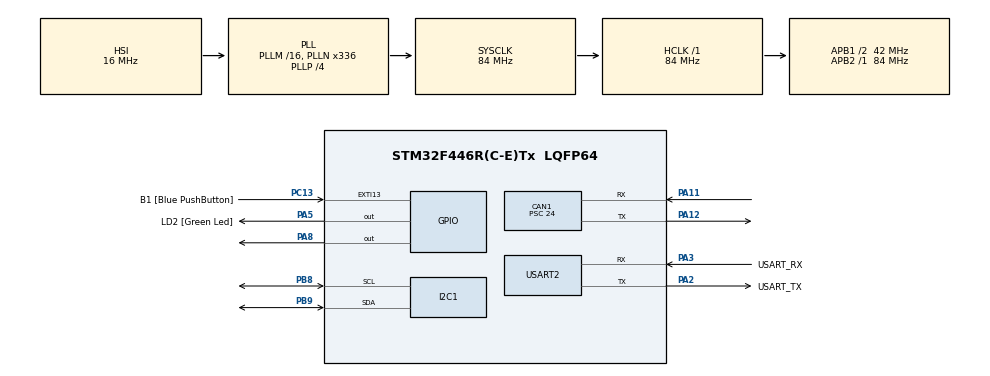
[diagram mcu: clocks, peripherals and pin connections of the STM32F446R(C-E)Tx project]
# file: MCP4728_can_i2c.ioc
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CAN1.BS1=CAN_BS1_11TQ
CAN1.BS2=CAN_BS2_2TQ
CAN1.CalculateBaudRate=125000
CAN1.CalculateTimeBit=8000
CAN1.CalculateTimeQuantum=571.4285714285714
CAN1.Mode=CAN_MODE_NORMAL
CAN1.Prescaler=24
Mcu.Family=STM32F4
Mcu.Name=STM32F446R(C-E)Tx
Mcu.Package=LQFP64
NVIC.CAN1_RX0_IRQn=true\:0\:0\:false\:false\:true\:true\:true\:true
NVIC.PriorityGroup=NVIC_PRIORITYGROUP_0
PA11.GPIO_Speed=GPIO_SPEED_FREQ_HIGH
PA11.Mode=CAN_Activate
PA11.Signal=CAN1_RX
PA12.GPIO_Speed=GPIO_SPEED_FREQ_HIGH
PA12.Mode=CAN_Activate
PA12.Signal=CAN1_TX
PA13.GPIO_Label=TMS
PA13.Mode=Serial_Wire
PA13.Signal=SYS_JTMS-SWDIO
PA14.GPIO_Label=TCK
PA14.Mode=Serial_Wire
PA14.Signal=SYS_JTCK-SWCLK
PA2.GPIO_Label=USART_TX
PA2.Mode=Asynchronous
PA2.Signal=USART2_TX
PA3.GPIO_Label=USART_RX
PA3.Mode=Asynchronous
PA3.Signal=USART2_RX
PA5.GPIO_Label=LD2 [Green Led]
PA5.Signal=GPIO_Output
PA8.GPIO_ModeDefaultOutputPP=GPIO_MODE_OUTPUT_PP
PA8.PinState=GPIO_PIN_SET
PA8.Signal=GPIO_Output
PB3.GPIO_Label=SWO
PB3.Signal=SYS_JTDO-SWO
PB8.GPIO_Speed=GPIO_SPEED_FREQ_HIGH
PB8.Mode=I2C
PB8.Signal=I2C1_SCL
PB9.GPIO_Speed=GPIO_SPEED_FREQ_HIGH
PB9.Mode=I2C
PB9.Signal=I2C1_SDA
PC13.GPIO_Label=B1 [Blue PushButton]
PC13.GPIO_ModeDefaultEXTI=GPIO_MODE_IT_FALLING
PC13.Signal=GPXTI13
PC14-OSC32_IN.Mode=LSE-External-Oscillator
PC14-OSC32_IN.Signal=RCC_OSC32_IN
PC15-OSC32_OUT.Mode=LSE-External-Oscillator
PC15-OSC32_OUT.Signal=RCC_OSC32_OUT
PH0-OSC_IN.Mode=HSE-External-Oscillator
PH0-OSC_IN.Signal=RCC_OSC_IN
PH1-OSC_OUT.Mode=HSE-External-Oscillator
PH1-OSC_OUT.Signal=RCC_OSC_OUT
ProjectManager.HeapSize=0x200
ProjectManager.StackSize=0x400
ProjectManager.TargetToolchain=CMake
RCC.48MHZClocksFreq_Value=84000000
RCC.AHBFreq_Value=84000000
RCC.APB1CLKDivider=RCC_HCLK_DIV2
RCC.APB1Freq_Value=42000000
RCC.APB1TimFreq_Value=84000000
RCC.APB2Freq_Value=84000000
RCC.APB2TimFreq_Value=84000000
RCC.CortexFreq_Value=84000000
RCC.FLatency-AdvancedSettings=FLASH_LATENCY_2
RCC.HCLKFreq_Value=84000000
RCC.HSE_VALUE=8000000
RCC.HSI_VALUE=16000000
RCC.PLLN=336
RCC.PLLP=RCC_PLLP_DIV4
RCC.SYSCLKFreq_VALUE=84000000
RCC.SYSCLKSource=RCC_SYSCLKSOURCE_PLLCLK
RCC.USBFreq_Value=168000000
RCC.VCOOutputFreq_Value=336000000
USART2.VirtualMode=VM_ASYNC
board=NUCLEO-F446RE

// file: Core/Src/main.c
/* USER CODE BEGIN Header */
/**
  ******************************************************************************
  * @file           : main.c
  * @brief          : Elevator CAN to MCP4728 DAC Bridge
  ******************************************************************************

  * @attention
  *
  * Copyright (c) 2026 STMicroelectronics.
  * All rights reserved.
  *
  * This software is licensed under terms that can be found in the LICENSE file
  * in the root directory of this software component.
  * If no LICENSE file comes with this software, it is provided AS-IS.
  *
  ******************************************************************************
  */
/* USER CODE END Header */
#include "main.h"
#include "can.h"
#include "i2c.h"
#include "usart.h"
#include "gpio.h"

/* USER CODE BEGIN PD */

#define DEBUG_UART_ENABLE      0U
#define DEBUG_CAN_RX_VERBOSE   0U
#define DEBUG_I2C_VERBOSE      0U

/* USER CODE END PD */

/* USER CODE BEGIN PV */

// MCP4728 默认 7-bit 地址为 0x60，HAL 发送时使用左移后的地址格式
#define MCP4728_ADDR (0x60U << 1)

// --- 4~20mA 映射用常数 ---
// 假设硬件把 DAC (0~4095) 的输出电压(0~Vref)转换为 0~20mA
// 所以 4mA 对应的 DAC 值为: (4mA/20mA) * 4095 ≈ 819，20mA对应 4095
// (*如果您的硬件本身是将 0~Vref 转化为 4~20mA, 则此处应改为 0 和 4095)
#define DAC_4MA_VAL  0
#define DAC_20MA_VAL 4095

// 定义 CAN 接收到数据的对应量程
// 假设收到的数据是 0 到 60000 对应 4~20mA。(可根据您的电梯协议实际极值随意更改)
#define SENSOR_MIN 0
#define SENSOR_MAX 60000

// MCP4728 LDAC 引脚：高电平保持输出不更新，低脉冲后同步更新各通道
#define MCP4728_LDAC_GPIO_Port GPIOA
#define MCP4728_LDAC_Pin GPIO_PIN_8
// -----------------------

static volatile uint8_t dac_update_pending = 0;
static volatile uint16_t dac_chA_pending = 0;
static volatile uint16_t dac_chB_pending = 0;
static volatile uint16_t dac_chC_pending = 0;

/* CAN 正常模式下不再发送环回测试帧，先保留计数变量定义 */
/*
static volatile uint32_t g_can_tx_ok = 0U;
static volatile uint32_t g_can_tx_fail = 0U;
*/
static volatile uint32_t g_can_rx_ok = 0U;
static volatile uint32_t g_i2c_tx_ok = 0U;
static volatile uint32_t g_i2c_tx_fail = 0U;

/* USER CODE END PV */

void SystemClock_Config(void);
/* USER CODE BEGIN PFP */

void MCP4728_Write_3Channels(uint16_t chA, uint16_t chB, uint16_t chC);
/* CAN 正常模式下不再发送环回测试帧 */
/* static void CAN_Send_Loopback_TestFrame(void); */
/* 串口调试函数保留注释，按需恢复 */
/* static void Debug_Printf(const char *fmt, ...); */
/* static void Debug_PrintCanPayload(const CAN_RxHeaderTypeDef *rxHeader, const uint8_t *rxData); */

/* USER CODE END PFP */

/* USER CODE BEGIN 0 */

/*
static void Debug_Printf(const char *fmt, ...)
{
#if DEBUG_UART_ENABLE
  char buf[160];
  va_list args;

  va_start(args, fmt);
  int len = vsnprintf(buf, sizeof(buf), fmt, args);
  va_end(args);

  if (len <= 0) {
    return;
  }

  if (len > (int)sizeof(buf)) {
    len = (int)sizeof(buf);
  }

  (void)HAL_UART_Transmit(&huart2, (uint8_t *)buf, (uint16_t)len, 50U);
#else
  (void)fmt;
#endif
}

static void Debug_PrintCanPayload(const CAN_RxHeaderTypeDef *rxHeader, const uint8_t *rxData)
{
#if DEBUG_UART_ENABLE && DEBUG_CAN_RX_VERBOSE
  Debug_Printf("[CAN RX] ID=0x%03lX DLC=%lu DATA=%02X %02X %02X %02X %02X %02X %02X %02X\r\n",
               rxHeader->StdId,
               rxHeader->DLC,
               rxData[0], rxData[1], rxData[2], rxData[3],
               rxData[4], rxData[5], rxData[6], rxData[7]);
#else
  (void)rxHeader;
  (void)rxData;
#endif
}
*/

/* USER CODE END 0 */

int main(void)
{

  /* MCU Configuration--------------------------------------------------------*/

  /* Reset of all peripherals, Initializes the Flash interface and the Systick. */
  HAL_Init();

  /* Configure the system clock */
  SystemClock_Config();

  /* Initialize all configured peripherals */
  MX_GPIO_Init();
  MX_CAN1_Init();
  MX_I2C1_Init();
  MX_USART2_UART_Init();
  /* USER CODE BEGIN 2 */
  // 1. 配置 CAN 过滤器
  CAN_FilterTypeDef sFilterConfig;
  sFilterConfig.FilterBank = 0;
  sFilterConfig.FilterMode = CAN_FILTERMODE_IDMASK;
  sFilterConfig.FilterScale = CAN_FILTERSCALE_32BIT;
  sFilterConfig.FilterIdHigh = (0x181 << 5);      // 帧 ID: 0x181
  sFilterConfig.FilterIdLow = 0x0000;
  sFilterConfig.FilterMaskIdHigh = 0xFFE0;        // 精确匹配
  // sFilterConfig.FilterMaskIdHigh = 0x0000;       // 接收所有 ID（不过滤）
  sFilterConfig.FilterMaskIdLow = 0x0000;
  sFilterConfig.FilterFIFOAssignment = CAN_RX_FIFO0;
  sFilterConfig.FilterActivation = ENABLE;
  sFilterConfig.SlaveStartFilterBank = 14;

  if (HAL_CAN_ConfigFilter(&hcan1, &sFilterConfig) != HAL_OK) {
      Error_Handler();
  }

  // 2. 启动 CAN
  if (HAL_CAN_Start(&hcan1) != HAL_OK) {
      Error_Handler();
  }

  // 3. 开启接收中断
  if (HAL_CAN_ActivateNotification(&hcan1, CAN_IT_RX_FIFO0_MSG_PENDING) != HAL_OK) {
      Error_Handler();
  }

  /*
   * Normal mode 下关闭 I2C 扫描自检，不影响 CAN -> DAC 主流程。
   * 如需排查硬件连线/地址问题，可临时恢复此段。
   * Debug_Printf("[I2C SCAN] Scanning 0x01~0x7F...\r\n");
   * for (uint8_t addr = 0x01; addr <= 0x7F; addr++) {
   *   HAL_StatusTypeDef ret = HAL_I2C_IsDeviceReady(&hi2c1, (uint16_t)(addr << 1), 2, 10);
   *   if (ret == HAL_OK) {
   *     Debug_Printf("[I2C SCAN] addr=0x%02X -> ACK <<<\r\n", addr);
   *   }
   * }
   * Debug_Printf("[I2C SCAN] Done\r\n");
   */
  /* USER CODE END 2 */

  /* Infinite loop */
  /* USER CODE BEGIN WHILE */
  while (1)
  {
    /* static uint32_t lastDebugTick = 0U; */

    /* CAN 正常模式：关闭环回测试发包 */
    /* CAN_Send_Loopback_TestFrame(); */

    if (dac_update_pending != 0U) {
      uint16_t chA = dac_chA_pending;
      uint16_t chB = dac_chB_pending;
      uint16_t chC = dac_chC_pending;

      dac_update_pending = 0U;
      MCP4728_Write_3Channels(chA, chB, chC);
    }

    /*if ((HAL_GetTick() - lastDebugTick) >= 1000U) {
      lastDebugTick = HAL_GetTick();
      Debug_Printf("[STAT] CAN_TX ok=%lu fail=%lu | CAN_RX=%lu | I2C ok=%lu fail=%lu\r\n",
                   g_can_tx_ok,
                   g_can_tx_fail,
                   g_can_rx_ok,
                   g_i2c_tx_ok,
                   g_i2c_tx_fail);
    } */

    /* USER CODE END WHILE */

  }
}

void SystemClock_Config(void)
{
  RCC_OscInitTypeDef RCC_OscInitStruct = {0};
  RCC_ClkInitTypeDef RCC_ClkInitStruct = {0};

  /** Configure the main internal regulator output voltage
  */
  __HAL_RCC_PWR_CLK_ENABLE();
  __HAL_PWR_VOLTAGESCALING_CONFIG(PWR_REGULATOR_VOLTAGE_SCALE3);

  /** Initializes the RCC Oscillators according to the specified parameters
  * in the RCC_OscInitTypeDef structure.
  */
  RCC_OscInitStruct.OscillatorType = RCC_OSCILLATORTYPE_HSI;
  RCC_OscInitStruct.HSIState = RCC_HSI_ON;
  RCC_OscInitStruct.HSICalibrationValue = RCC_HSICALIBRATION_DEFAULT;
  RCC_OscInitStruct.PLL.PLLState = RCC_PLL_ON;
  RCC_OscInitStruct.PLL.PLLSource = RCC_PLLSOURCE_HSI;
  RCC_OscInitStruct.PLL.PLLM = 16;
  RCC_OscInitStruct.PLL.PLLN = 336;
  RCC_OscInitStruct.PLL.PLLP = RCC_PLLP_DIV4;
  RCC_OscInitStruct.PLL.PLLQ = 2;
  RCC_OscInitStruct.PLL.PLLR = 2;
  if (HAL_RCC_OscConfig(&RCC_OscInitStruct) != HAL_OK)
  {
    Error_Handler();
  }

  /** Initializes the CPU, AHB and APB buses clocks
  */
  RCC_ClkInitStruct.ClockType = RCC_CLOCKTYPE_HCLK|RCC_CLOCKTYPE_SYSCLK
                              |RCC_CLOCKTYPE_PCLK1|RCC_CLOCKTYPE_PCLK2;
  RCC_ClkInitStruct.SYSCLKSource = RCC_SYSCLKSOURCE_PLLCLK;
  RCC_ClkInitStruct.AHBCLKDivider = RCC_SYSCLK_DIV1;
  RCC_ClkInitStruct.APB1CLKDivider = RCC_HCLK_DIV2;
  RCC_ClkInitStruct.APB2CLKDivider = RCC_HCLK_DIV1;

  if (HAL_RCC_ClockConfig(&RCC_ClkInitStruct, FLASH_LATENCY_2) != HAL_OK)
  {
    Error_Handler();
  }
}

/* USER CODE BEGIN 4 */

/**
  * @brief 环回调试发包：周期发送标准帧 0x181，数据格式为 A(4B)+B(2B)+C(2B)
  */
/*
static void CAN_Send_Loopback_TestFrame(void) {
  static uint32_t lastTickMs = 0U;

  if ((HAL_GetTick() - lastTickMs) < 500U) {
    return;
  }
  lastTickMs = HAL_GetTick();

  const uint32_t a = 5000U;
  const uint16_t b = 5000U;
  const uint16_t c = 5000U;

  CAN_TxHeaderTypeDef txHeader = {0};
  uint8_t txData[8];
  uint32_t txMailbox = 0U;

  txHeader.StdId = 0x181U;
  txHeader.ExtId = 0U;
  txHeader.IDE = CAN_ID_STD;
  txHeader.RTR = CAN_RTR_DATA;
  txHeader.DLC = 8U;
  txHeader.TransmitGlobalTime = DISABLE;

  txData[0] = (uint8_t)(a >> 24);
  txData[1] = (uint8_t)(a >> 16);
  txData[2] = (uint8_t)(a >> 8);
  txData[3] = (uint8_t)(a);
  txData[4] = (uint8_t)(b >> 8);
  txData[5] = (uint8_t)(b);
  txData[6] = (uint8_t)(c >> 8);
  txData[7] = (uint8_t)(c);

  if (HAL_CAN_GetTxMailboxesFreeLevel(&hcan1) > 0U) {
    if (HAL_CAN_AddTxMessage(&hcan1, &txHeader, txData, &txMailbox) == HAL_OK) {
      g_can_tx_ok++;
    } else {
      g_can_tx_fail++;
    }
  } else {
    g_can_tx_fail++;
  }
}
*/

/**
  * @brief 辅助映射函数：将 10 十进制的实际信号值线性映射入 4~20mA (默认 819~4095) 的 DAC 数据字
  */
static uint16_t Map_To_4_20mA(int32_t val) {
    if (val <= SENSOR_MIN) return DAC_4MA_VAL;
    if (val >= SENSOR_MAX) return DAC_20MA_VAL;
    // 线性映射插值算法: 结果 = 最小值 + (当前-最小值) * (极差) / (满量程-最小值)
    return DAC_4MA_VAL + (uint16_t)(((int64_t)(val - SENSOR_MIN) * (int64_t)(DAC_20MA_VAL - DAC_4MA_VAL)) / (SENSOR_MAX - SENSOR_MIN));
}

/**
  * @brief CAN 接收回调：监听到电梯数据后直接输出到 DAC
  */
void HAL_CAN_RxFifo0MsgPendingCallback(CAN_HandleTypeDef *hcan) {
    CAN_RxHeaderTypeDef rxHeader;
    uint8_t rxData[8];

  if ((hcan->Instance == CAN1) && (HAL_CAN_GetRxMessage(hcan, CAN_RX_FIFO0, &rxHeader, rxData) == HAL_OK)) {
    if ((rxHeader.StdId == 0x181U) && (rxHeader.DLC >= 8U)) {
            g_can_rx_ok++;
            /* Debug_PrintCanPayload(&rxHeader, rxData); */
            // 将 16 进制存储格式转换为 10 进制整型变量的值
            // 通道A: 前4个字节组成32位整型变量
            int32_t rawA = (int32_t)(((uint32_t)rxData[0] << 24) | ((uint32_t)rxData[1] << 16) | ((uint32_t)rxData[2] << 8) | rxData[3]);

            // 通道B: 中间2个字节组成16位整型（如果有符号可转 (int16_t) ）
            int32_t rawB = (int32_t)((rxData[4] << 8) | rxData[5]);

            // 通道C: 最后2个字节组成16位整型
            int32_t rawC = (int32_t)((rxData[6] << 8) | rxData[7]);

            // 通过映射公式，将 10进制变量 换算为 4-20mA 模拟电压对 DAC 的 12位 (819 - 4095)
            uint16_t valA = Map_To_4_20mA(rawA);
            uint16_t valB = Map_To_4_20mA(rawB);
            uint16_t valC = Map_To_4_20mA(rawC);

            /*
#if DEBUG_UART_ENABLE && DEBUG_CAN_RX_VERBOSE
            Debug_Printf("[MAP] RAW A=%ld B=%ld C=%ld -> DAC A=%u B=%u C=%u\r\n",
                         (long)rawA,
                         (long)rawB,
                         (long)rawC,
                         valA,
                         valB,
                         valC);
#endif
            */

      dac_chA_pending = valA;
      dac_chB_pending = valB;
      dac_chC_pending = valC;
      dac_update_pending = 1U;

            // 翻转 PA5 状态灯表示收到数据
            HAL_GPIO_TogglePin(GPIOA, GPIO_PIN_5);
        }
    }
}

/**
  * @brief 向 MCP4728 发送 I2C 指令 (Sequential Write 模式，从 Ch.A 顺序写三通道)
  *
  * 帧格式 (datasheet §5.6.2 Sequential Write):
  *   Byte 0: 0x50  = 0101_0000  命令字，从 Ch.A 开始顺序写
  *   Byte 1: cfg  | (D11~D8)   Ch.A 高字节: VRef=VDD(0), PD=Normal(00), Gain=x1(0), D11-8
  *   Byte 2: D7~D0             Ch.A 低字节
  *   Byte 3: cfg  | (D11~D8)   Ch.B 高字节 (同上)
  *   Byte 4: D7~D0             Ch.B 低字节
  *   Byte 5: cfg  | (D11~D8)   Ch.C 高字节 (同上)
  *   Byte 6: D7~D0             Ch.C 低字节
  *
  *   cfg = 0x00 时表示: VRef=VDD, PD=Normal, Gain=x1
  *
  * LDAC 时序: 先完成 I2C 传输，再给低脉冲触发三通道同步更新输出。
  */
void MCP4728_Write_3Channels(uint16_t chA, uint16_t chB, uint16_t chC) {
    // 1个命令字节 + 3个通道 × 2字节 = 7字节
    uint8_t data[7];
  const uint8_t cfg = 0x00U; // Vref=VDD, PD=Normal, Gain=x1

    // Byte 0: Sequential Write 命令，从 Ch.A 开始
    data[0] = 0x50;

    // Byte 1~2: 通道 A
  data[1] = cfg | ((chA >> 8) & 0x0F);   // 高字节: 配置位 + D11~D8
    data[2] = chA & 0xFF;                   // 低字节: D7~D0

    // Byte 3~4: 通道 B
  data[3] = cfg | ((chB >> 8) & 0x0F);   // 高字节: 配置位 + D11~D8
    data[4] = chB & 0xFF;                   // 低字节: D7~D0

    // Byte 5~6: 通道 C
  data[5] = cfg | ((chC >> 8) & 0x0F);   // 高字节: 配置位 + D11~D8
    data[6] = chC & 0xFF;                   // 低字节: D7~D0

  /*
#if DEBUG_UART_ENABLE && DEBUG_I2C_VERBOSE
  Debug_Printf("[I2C TX] MCP4728 data=%02X %02X %02X %02X %02X %02X %02X\r\n",
         data[0], data[1], data[2], data[3], data[4], data[5], data[6]);
#endif
  */

    // 先完成 I2C 传输，再触发 LDAC 低脉冲使三通道同步更新
    if (HAL_I2C_Master_Transmit(&hi2c1, MCP4728_ADDR, data, 7, 50) == HAL_OK) {
      g_i2c_tx_ok++;
      // LDAC 低脉冲：将 A/B/C 输入寄存器同步推送到物理输出引脚
      HAL_GPIO_WritePin(MCP4728_LDAC_GPIO_Port, MCP4728_LDAC_Pin, GPIO_PIN_RESET);
      HAL_GPIO_WritePin(MCP4728_LDAC_GPIO_Port, MCP4728_LDAC_Pin, GPIO_PIN_SET);
    } else {
      g_i2c_tx_fail++;
  /*
#if DEBUG_UART_ENABLE
  Debug_Printf("[I2C ERR] HAL_I2C_Master_Transmit failed, err=0x%08lX\r\n", (unsigned long)HAL_I2C_GetError(&hi2c1));
#endif
  */
    }
}
/* USER CODE END 4 */

void Error_Handler(void)
{
  __disable_irq();
  while (1)
  {
  }
}
